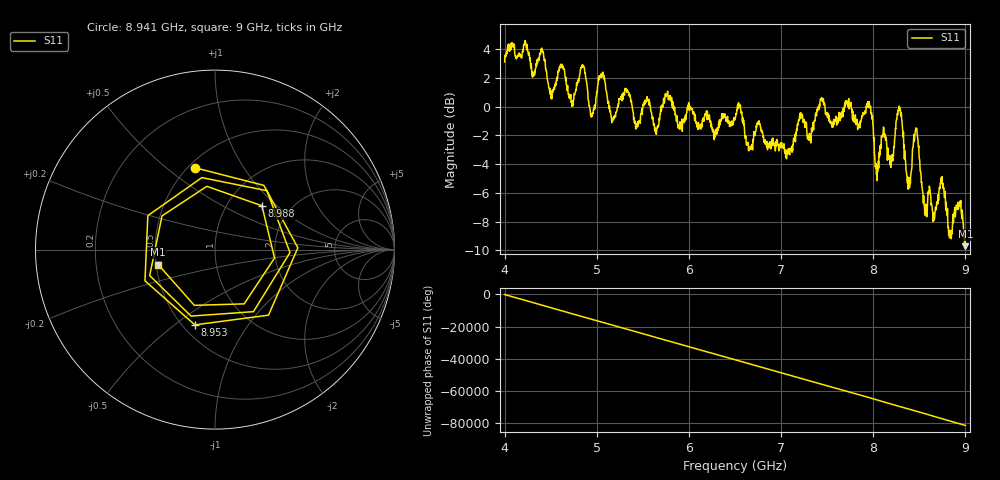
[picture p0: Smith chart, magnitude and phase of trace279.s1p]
! Created with skrf 1.8.0 (http://scikit-rf.org).
# Hz S RI R 50.0
!freq ReS11 ImS11
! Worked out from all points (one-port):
!   1601 points, 4 GHz to 9 GHz, reference 50 ohm
!   lowest |S11| = -9.7 dB at 9 GHz (marker M1), VSWR 1.97, Z = 25.7 - j4.78 ohm
!   |S11| at or under -10 dB: nowhere
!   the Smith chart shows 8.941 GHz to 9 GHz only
!   S11 on the Smith chart (normalised r, x): 8.941 GHz: 0.54, +0.63; 8.953 GHz: 0.57, -0.59; 8.988 GHz: 1.44, +0.81; 9 GHz: 0.51, -0.10
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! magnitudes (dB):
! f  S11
! 4 GHz  3.1
! 4.403 GHz  4.1
! 4.506 GHz  0.6
! 4.625 GHz  2.9
! 4.728 GHz  0.3
! 4.853 GHz  2.8
! 4.947 GHz  -0.5
! 5.05 GHz  2.1
! 5.166 GHz  -0.9
! 5.25 GHz  0.5
! 5.875 GHz  -0.9
! 6.5 GHz  -0.9
! 7.125 GHz  -3.1
! 7.75 GHz  0.2
! 7.959 GHz  0.2
! 8.041 GHz  -5.1
! 8.112 GHz  -1.4
! 8.2 GHz  -3.4
! 8.288 GHz  -0.1
! 8.375 GHz  -4.9
! 8.462 GHz  -1.5
! 8.562 GHz  -7.1
! 8.744 GHz  -5.3
! 8.834 GHz  -9.0
! 8.941 GHz  -6.6
! 8.953 GHz  -7.2
! 8.988 GHz  -8.9
! 9 GHz  -9.7
